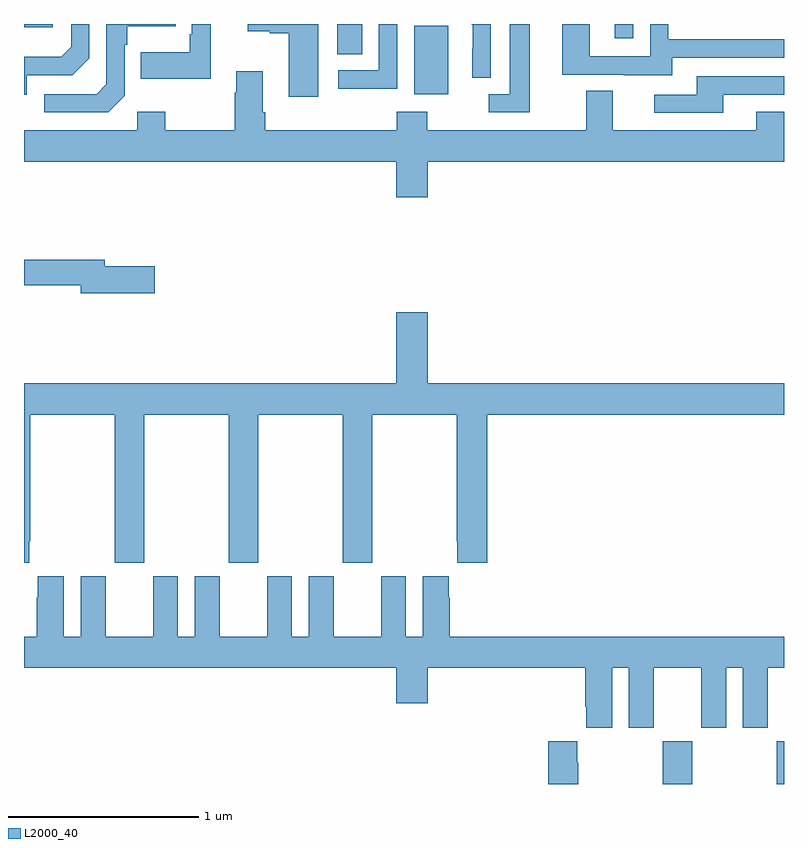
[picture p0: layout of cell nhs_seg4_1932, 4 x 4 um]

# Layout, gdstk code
import gdstk
lib = gdstk.Library(unit=1e-6, precision=1e-09)
def R(c, l, rs):  # rectangles x0, y0, x1, y1
    for r in rs: c.add(gdstk.rectangle(r[:2], r[2:], *l))
def P(c, l, *ps):  # polygons
    for p in ps: c.add(gdstk.Polygon(p, *l))
L2000_40 = (2000, 40)

nhs_seg4_1932 = lib.new_cell('nhs_seg4_1932')
R(nhs_seg4_1932, L2000_40, [(214.363,770.9,214.518,771.124), (214.963,770.9,215,771.124), (213.053,774.53,213.232,774.891), (212.648,774.742,212.779,774.9), (214.109,774.825,214.206,774.9), (211,774.884,211.15,774.9)])
P(nhs_seg4_1932, L2000_40, [(214.411,774.723),(215,774.723),(215,774.819),(214.392,774.819),(214.392,774.9),(214.296,774.9),(214.296,774.729),(213.978,774.729),(213.978,774.9),(213.833,774.9),(213.833,774.633),(214.157,774.633),(214.157,774.629),(214.411,774.629)],
  [(213.456,774.9),(213.355,774.9),(213.362,774.893),(213.362,774.77),(213.36,774.77),(213.36,774.616),(213.456,774.616)],
  [(212.964,774.9),(212.868,774.9),(212.868,774.657),(212.655,774.657),(212.655,774.559),(212.964,774.559)],
  [(211.53,774.522),(211.53,774.791),(211.543,774.791),(211.543,774.887),(211.799,774.887),(211.799,774.9),(211.434,774.9),(211.434,774.582),(211.383,774.531),(211.107,774.531),(211.107,774.435),(211.443,774.435)],
  [(212.548,774.9),(212.178,774.9),(212.178,774.863),(212.294,774.863),(212.294,774.851),(212.393,774.851),(212.393,774.516),(212.548,774.516)],
  [(211.982,774.9),(211.884,774.9),(211.884,774.847),(211.872,774.847),(211.872,774.751),(211.615,774.751),(211.615,774.611),(211.982,774.611)],
  [(211.014,774.63),(211.254,774.63),(211.344,774.72),(211.344,774.9),(211.248,774.9),(211.248,774.78),(211.195,774.727),(211,774.727),(211,774.528),(211.014,774.528)],
  [(213.661,774.9),(213.557,774.9),(213.557,774.531),(213.447,774.531),(213.447,774.435),(213.661,774.435)],
  [(213.124,774.176),(215,774.176),(215,774.439),(214.853,774.439),(214.853,774.34),(214.099,774.34),(214.099,774.548),(213.959,774.548),(213.959,774.34),(213.123,774.34),(213.123,774.439),(212.963,774.439),(212.963,774.34),(212.27,774.34),(212.27,774.436),(212.257,774.436),(212.257,774.652),(212.117,774.652),(212.117,774.539),(212.11,774.539),(212.11,774.34),(211.743,774.34),(211.743,774.439),(211.596,774.439),(211.596,774.34),(211,774.34),(211,774.176),(212.96,774.176),(212.96,773.988),(213.124,773.988)],
  [(214.681,774.528),(215,774.528),(215,774.624),(214.541,774.624),(214.541,774.528),(214.317,774.528),(214.317,774.432),(214.681,774.432)],
  [(211.687,773.624),(211.426,773.624),(211.426,773.66),(211,773.66),(211,773.524),(211.298,773.524),(211.298,773.482),(211.687,773.482)],
  [(213.124,773.383),(212.96,773.383),(212.96,773.008),(211,773.008),(211,772.065),(211.027,772.065),(211.027,772.177),(211.032,772.177),(211.032,772.844),(211.477,772.844),(211.477,772.065),(211.632,772.065),(211.632,772.844),(212.077,772.844),(212.077,772.065),(212.232,772.065),(212.232,772.844),(212.677,772.844),(212.677,772.065),(212.832,772.065),(212.832,772.844),(213.277,772.844),(213.277,772.177),(213.281,772.177),(213.281,772.065),(213.437,772.065),(213.437,772.844),(215,772.844),(215,773.008),(213.124,773.008)],
  [(212.96,771.324),(213.124,771.324),(213.124,771.512),(213.953,771.512),(213.953,771.307),(213.959,771.307),(213.959,771.195),(214.096,771.195),(214.096,771.512),(214.184,771.512),(214.184,771.195),(214.315,771.195),(214.315,771.512),(214.565,771.512),(214.565,771.195),(214.696,771.195),(214.696,771.512),(214.784,771.512),(214.784,771.195),(214.915,771.195),(214.915,771.512),(215,771.512),(215,771.676),(213.242,771.676),(213.242,771.881),(213.235,771.881),(213.235,771.994),(213.098,771.994),(213.098,771.676),(213.01,771.676),(213.01,771.994),(212.879,771.994),(212.879,771.676),(212.629,771.676),(212.629,771.994),(212.498,771.994),(212.498,771.676),(212.41,771.676),(212.41,771.994),(212.279,771.994),(212.279,771.676),(212.029,771.676),(212.029,771.994),(211.898,771.994),(211.898,771.676),(211.81,771.676),(211.81,771.994),(211.679,771.994),(211.679,771.676),(211.429,771.676),(211.429,771.994),(211.298,771.994),(211.298,771.676),(211.21,771.676),(211.21,771.994),(211.073,771.994),(211.073,771.881),(211.067,771.881),(211.067,771.676),(211,771.676),(211,771.512),(212.96,771.512)],
  [(213.758,771.124),(213.758,770.9),(213.918,770.9),(213.918,771.011),(213.913,771.011),(213.913,771.124)])

lib.write_gds('nhs_seg4_1932.gds')
